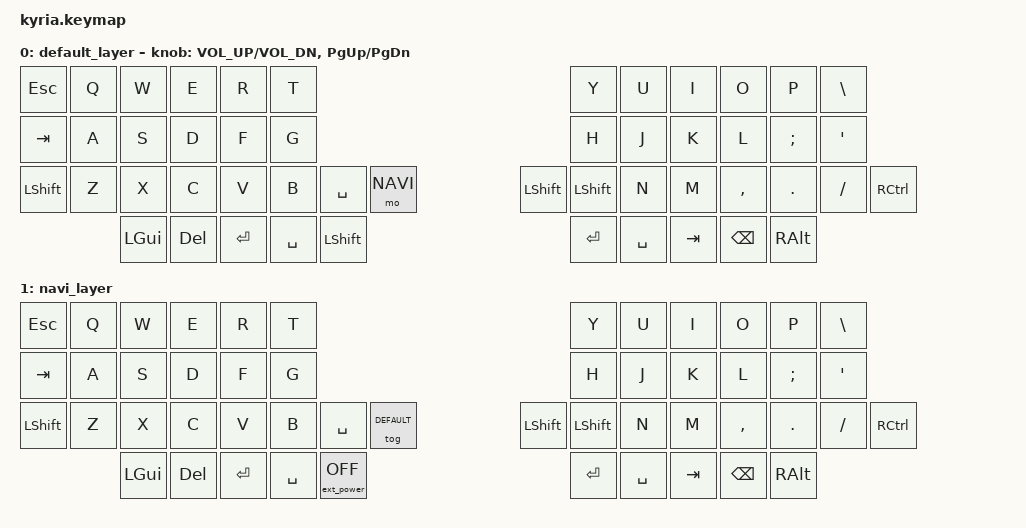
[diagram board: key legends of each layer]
/*
 * Copyright (c) 2020 The ZMK Contributors
 *
 * SPDX-License-Identifier: MIT
 */

#include <behaviors.dtsi>
#include <dt-bindings/zmk/keys.h>
#include <dt-bindings/zmk/ext_power.h>

#define DEFAULT 0 
#define NAVI 1 

/ {
	keymap {
		compatible = "zmk,keymap";

		default_layer {
// ---------------------------------------------------------------------------------------------------------------------------------
// |  ESC  |  Q  |  W  |  E   |  R   |  T   |                                          |  Y   |  U    |  I    |  O   |   P   |   \  |
// |  TAB  |  A  |  S  |  D   |  F   |  G   |                                          |  H   |  J    |  K    |  L   |   ;   |   '  |
// | SHIFT |  Z  |  X  |  C   |  V   |  B   | L SHIFT | L SHIFT |  | L SHIFT | L SHIFT |  N   |  M    |  ,    |  .   |   /   | CTRL |
//                     | GUI  | DEL  | RET  |  SPACE  |   ESC   |  |   RET   |  SPACE  | TAB  | BSPC  | R-ALT |
			bindings = <
	&kp ESC   &kp Q &kp W &kp E &kp R &kp T                                                &kp Y &kp U  &kp I     &kp O   &kp P    &kp BSLH
	&kp TAB   &kp A &kp S &kp D &kp F &kp G                                                &kp H &kp J  &kp K     &kp L   &kp SEMI &kp SQT
	&kp LSHFT &kp Z &kp X &kp C &kp V &kp B &kp SPACE &mo NAVI        &kp LSHFT &kp LSHFT &kp N &kp M  &kp COMMA &kp DOT &kp FSLH &kp RCTRL
	                 &kp LGUI &kp DEL &kp RET &kp SPACE &kp LSHIFT        &kp RET  &kp SPACE  &kp TAB &kp BSPC &kp RALT
			>;
		
			sensor-bindings = <&inc_dec_kp C_VOL_UP C_VOL_DN &inc_dec_kp PG_UP PG_DN>;
		};

		navi_layer {
			bindings = <
	&kp ESC   &kp Q &kp W &kp E &kp R &kp T                                                &kp Y &kp U  &kp I     &kp O   &kp P    &kp BSLH
	&kp TAB   &kp A &kp S &kp D &kp F &kp G                                                &kp H &kp J  &kp K     &kp L   &kp SEMI &kp SQT
	&kp LSHFT &kp Z &kp X &kp C &kp V &kp B &kp SPACE &tog DEFAULT          &kp LSHFT &kp LSHFT &kp N &kp M  &kp COMMA &kp DOT &kp FSLH &kp RCTRL
	                 &kp LGUI &kp DEL &kp RET &kp SPACE &ext_power EP_OFF        &kp RET  &kp SPACE  &kp TAB &kp BSPC &kp RALT
			>;


		};
		

		
	};
};
